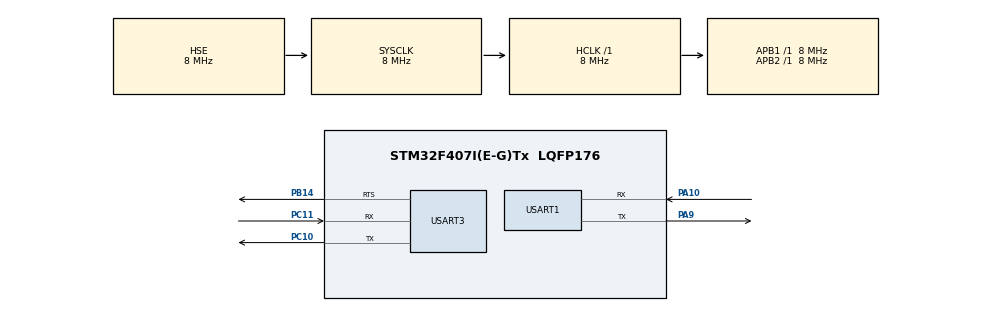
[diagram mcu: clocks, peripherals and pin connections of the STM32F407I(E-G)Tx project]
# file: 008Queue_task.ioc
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Mcu.Family=STM32F4
RCC.PLLSourceVirtual=RCC_PLLSOURCE_HSE
VP_SYS_VS_tim6.Mode=TIM6
PH0-OSC_IN.Signal=RCC_OSC_IN
RCC.CortexFreq_Value=8000000
PA10.Mode=Asynchronous
NVIC.TIM6_DAC_IRQn=true\:0\:0\:false\:false\:true\:false\:true
PC11.Signal=USART3_RX
PC10.Signal=USART3_TX
PC10.Mode=Asynchronous
VP_RTC_VS_RTC_Activate.Mode=RTC_Enabled
RCC.SYSCLKSource=RCC_SYSCLKSOURCE_HSE
ProjectManager.StackSize=0x400
PA9.Mode=Asynchronous
ProjectManager.TargetToolchain=STM32CubeIDE
RCC.HCLKFreq_Value=8000000
RCC.APB2TimFreq_Value=8000000
PA9.Signal=USART1_TX
RCC.LSE_VALUE=32768
RCC.AHBFreq_Value=8000000
PH0-OSC_IN.Mode=HSE-External-Oscillator
PB14.Signal=USART3_RTS
RCC.HSE_VALUE=8000000
board=custom
RCC.VCOOutputFreq_Value=96000000
RCC.APB2Freq_Value=8000000
PB14.Mode=RTS_Only
PH1-OSC_OUT.Signal=RCC_OSC_OUT
Mcu.Name=STM32F407I(E-G)Tx
PH1-OSC_OUT.Mode=HSE-External-Oscillator
RCC.48MHZClocksFreq_Value=24000000
RCC.SYSCLKFreq_VALUE=8000000
Mcu.Package=LQFP176
NVIC.TimeBase=TIM6_DAC_IRQn
USART3.VirtualMode=VM_ASYNC
USART1.VirtualMode=VM_ASYNC
NVIC.TimeBaseIP=TIM6
PA10.Signal=USART1_RX
RTC.HourFormat=RTC_HOURFORMAT_12
ProjectManager.HeapSize=0x200
PC11.Mode=Asynchronous
RCC.HSI_VALUE=16000000
NVIC.PriorityGroup=NVIC_PRIORITYGROUP_4
RCC.APB1TimFreq_Value=8000000
NVIC.USART1_IRQn=true\:6\:0\:true\:false\:true\:true\:true
RCC.APB1Freq_Value=8000000

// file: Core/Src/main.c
/* USER CODE BEGIN Header */
/**
  ******************************************************************************
  * @file           : main.c
  * @brief          : Main program body
  ******************************************************************************
  * @attention
  *
  * <h2><center>&copy; Copyright (c) 2021 STMicroelectronics.
  * All rights reserved.</center></h2>
  *
  * This software component is licensed by ST under BSD 3-Clause license,
  * the "License"; You may not use this file except in compliance with the
  * License. You may obtain a copy of the License at:
  *                        opensource.org/licenses/BSD-3-Clause
  *
  ******************************************************************************
  */
/* USER CODE END Header */
#include "main.h"

RTC_HandleTypeDef hrtc;

UART_HandleTypeDef huart1;
UART_HandleTypeDef huart3;

/* USER CODE BEGIN PV */
TaskHandle_t handle_menu_task;
TaskHandle_t handle_cmd_task;
TaskHandle_t handle_print_task;
TaskHandle_t handle_led_task;
TaskHandle_t handle_rtc_task;
QueueHandle_t q_data;
QueueHandle_t q_print;
volatile uint8_t user_data;
state_t curr_state = sMainMenu;
TimerHandle_t handle_led_timer[4];
/* USER CODE END PV */

void SystemClock_Config(void);
static void MX_GPIO_Init(void);
static void MX_USART1_UART_Init(void);
static void MX_USART3_UART_Init(void);
static void MX_RTC_Init(void);
/* USER CODE BEGIN PFP */
void led_effect_callback(TimerHandle_t xTimer);
/* USER CODE END PFP */

int main(void)
{
  /* USER CODE BEGIN 1 */
  BaseType_t status;
  /* USER CODE END 1 */

  /* MCU Configuration--------------------------------------------------------*/

  /* Reset of all peripherals, Initializes the Flash interface and the Systick. */
  HAL_Init();

  /* Configure the system clock */
  SystemClock_Config();

  /* Initialize all configured peripherals */
  MX_GPIO_Init();
  MX_USART1_UART_Init();
  MX_USART3_UART_Init();
  MX_RTC_Init();
  /* USER CODE BEGIN 2 */
  status = xTaskCreate(menu_task, "menu_task", 250, NULL, 2, &handle_menu_task);
  configASSERT(status == pdPASS);

  status = xTaskCreate(cmd_handler_task, "cmd_task", 250, NULL, 2, &handle_cmd_task);
  configASSERT(status == pdPASS);

  status = xTaskCreate(print_task, "print_task", 250, NULL, 2, &handle_print_task);
  configASSERT(status == pdPASS);

  status = xTaskCreate(led_task, "led_task", 250, NULL, 2, &handle_led_task);
  configASSERT(status == pdPASS);

  //status = xTaskCreate(rtc_task, "rtc_task", 250, NULL, 2, &handle_rtc_task);
  //configASSERT(status == pdPASS);
  q_data = xQueueCreate(10, sizeof(char));
  configASSERT(q_data != NULL);

  q_print = xQueueCreate(10, sizeof(size_t));
  configASSERT(q_print != NULL);

  for (int i = 0; i < 4; i++) {
	  handle_led_timer[i] = xTimerCreate("led_timeer", pdMS_TO_TICKS(500), pdTRUE, (void *)(i+1), led_effect_callback);
  }
  HAL_UART_Receive_IT(&huart1, (uint8_t *)&user_data, 1);
  vTaskStartScheduler();
  /* USER CODE END 2 */

  /* Infinite loop */
  while (1)
  {

  }
}

void SystemClock_Config(void)
{
  RCC_OscInitTypeDef RCC_OscInitStruct = {0};
  RCC_ClkInitTypeDef RCC_ClkInitStruct = {0};
  RCC_PeriphCLKInitTypeDef PeriphClkInitStruct = {0};

  /** Configure the main internal regulator output voltage
  */
  __HAL_RCC_PWR_CLK_ENABLE();
  __HAL_PWR_VOLTAGESCALING_CONFIG(PWR_REGULATOR_VOLTAGE_SCALE1);
  /** Initializes the RCC Oscillators according to the specified parameters
  * in the RCC_OscInitTypeDef structure.
  */
  RCC_OscInitStruct.OscillatorType = RCC_OSCILLATORTYPE_LSI|RCC_OSCILLATORTYPE_HSE;
  RCC_OscInitStruct.HSEState = RCC_HSE_ON;
  RCC_OscInitStruct.LSIState = RCC_LSI_ON;
  RCC_OscInitStruct.PLL.PLLState = RCC_PLL_NONE;
  if (HAL_RCC_OscConfig(&RCC_OscInitStruct) != HAL_OK)
  {
    Error_Handler();
  }
  /** Initializes the CPU, AHB and APB buses clocks
  */
  RCC_ClkInitStruct.ClockType = RCC_CLOCKTYPE_HCLK|RCC_CLOCKTYPE_SYSCLK
                              |RCC_CLOCKTYPE_PCLK1|RCC_CLOCKTYPE_PCLK2;
  RCC_ClkInitStruct.SYSCLKSource = RCC_SYSCLKSOURCE_HSE;
  RCC_ClkInitStruct.AHBCLKDivider = RCC_SYSCLK_DIV1;
  RCC_ClkInitStruct.APB1CLKDivider = RCC_HCLK_DIV1;
  RCC_ClkInitStruct.APB2CLKDivider = RCC_HCLK_DIV1;

  if (HAL_RCC_ClockConfig(&RCC_ClkInitStruct, FLASH_LATENCY_0) != HAL_OK)
  {
    Error_Handler();
  }
  PeriphClkInitStruct.PeriphClockSelection = RCC_PERIPHCLK_RTC;
  PeriphClkInitStruct.RTCClockSelection = RCC_RTCCLKSOURCE_LSI;
  if (HAL_RCCEx_PeriphCLKConfig(&PeriphClkInitStruct) != HAL_OK)
  {
    Error_Handler();
  }
}

static void MX_RTC_Init(void)
{

  /** Initialize RTC Only
  */
  hrtc.Instance = RTC;
  hrtc.Init.HourFormat = RTC_HOURFORMAT_12;
  hrtc.Init.AsynchPrediv = 127;
  hrtc.Init.SynchPrediv = 255;
  hrtc.Init.OutPut = RTC_OUTPUT_DISABLE;
  hrtc.Init.OutPutPolarity = RTC_OUTPUT_POLARITY_HIGH;
  hrtc.Init.OutPutType = RTC_OUTPUT_TYPE_OPENDRAIN;
  if (HAL_RTC_Init(&hrtc) != HAL_OK)
  {
    Error_Handler();
  }

}

static void MX_USART1_UART_Init(void)
{

  huart1.Instance = USART1;
  huart1.Init.BaudRate = 115200;
  huart1.Init.WordLength = UART_WORDLENGTH_8B;
  huart1.Init.StopBits = UART_STOPBITS_1;
  huart1.Init.Parity = UART_PARITY_NONE;
  huart1.Init.Mode = UART_MODE_TX_RX;
  huart1.Init.HwFlowCtl = UART_HWCONTROL_NONE;
  huart1.Init.OverSampling = UART_OVERSAMPLING_16;
  if (HAL_UART_Init(&huart1) != HAL_OK)
  {
    Error_Handler();
  }

}

static void MX_USART3_UART_Init(void)
{

  huart3.Instance = USART3;
  huart3.Init.BaudRate = 115200;
  huart3.Init.WordLength = UART_WORDLENGTH_8B;
  huart3.Init.StopBits = UART_STOPBITS_1;
  huart3.Init.Parity = UART_PARITY_NONE;
  huart3.Init.Mode = UART_MODE_TX_RX;
  huart3.Init.HwFlowCtl = UART_HWCONTROL_RTS;
  huart3.Init.OverSampling = UART_OVERSAMPLING_16;
  if (HAL_UART_Init(&huart3) != HAL_OK)
  {
    Error_Handler();
  }

}

static void MX_GPIO_Init(void)
{

  /* GPIO Ports Clock Enable */
  __HAL_RCC_GPIOH_CLK_ENABLE();
  __HAL_RCC_GPIOB_CLK_ENABLE();
  __HAL_RCC_GPIOA_CLK_ENABLE();
  __HAL_RCC_GPIOC_CLK_ENABLE();

}

/* USER CODE BEGIN 4 */
void HAL_UART_RxCpltCallback(UART_HandleTypeDef *huart)
{
	char dummy;
	char* msg = 'ab';
	if(!xQueueIsQueueFullFromISR(q_data)) {
		xQueueSendFromISR(q_data, (void *)&user_data, NULL);

	} else {

		if(user_data == '\n') {
			//delete last data bye

			xQueueReceiveFromISR(q_data, (void *)&dummy, NULL);

			xQueueSendFromISR(q_data, (void *)&user_data, NULL);

		}
	}
	if(user_data == 'a') {
		xTaskNotifyFromISR(handle_cmd_task, 0, eNoAction, NULL);
	}
	HAL_UART_Receive_IT(&huart1, (uint8_t *)&user_data, 1);
}

void led_effect_callback(TimerHandle_t xTimer)
{
	int id;
	id = (uint32_t)pvTimerGetTimerID(xTimer);
	switch (id) {
		case 1:
			LED_effect1();
		break;

		case 2:
			LED_effect2();
		break;

		case 3:
			LED_effect3();
		break;

		case 4:
			LED_effect4();
		break;
	}
}
/* USER CODE END 4 */

 /**
  * @brief  Period elapsed callback in non blocking mode
  * @note   This function is called  when TIM6 interrupt took place, inside
  * HAL_TIM_IRQHandler(). It makes a direct call to HAL_IncTick() to increment
  * a global variable "uwTick" used as application time base.
  * @param  htim : TIM handle
  * @retval None
  */
void HAL_TIM_PeriodElapsedCallback(TIM_HandleTypeDef *htim)
{
  if (htim->Instance == TIM6) {
    HAL_IncTick();
  }
}

void Error_Handler(void)
{
  __disable_irq();
  while (1)
  {
  }
}

/************************ (C) COPYRIGHT STMicroelectronics *****END OF FILE****/
